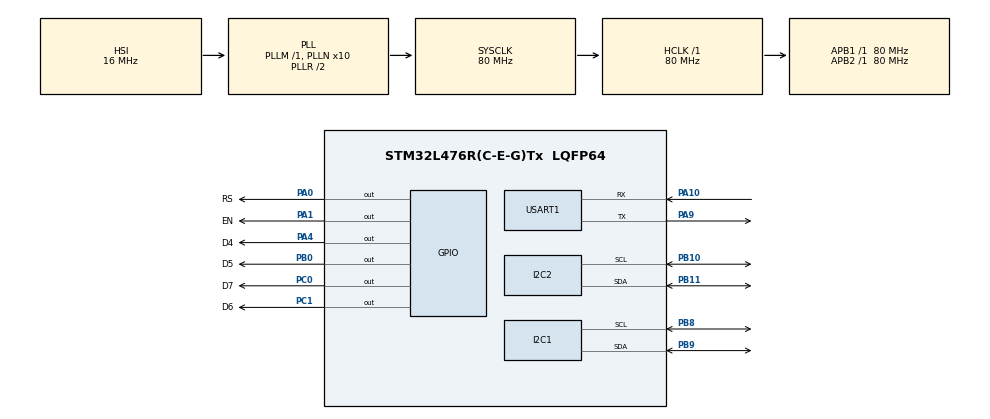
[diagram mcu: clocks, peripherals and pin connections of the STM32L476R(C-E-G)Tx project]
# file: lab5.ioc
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Dma.Request0=USART1_RX
Dma.Request1=USART1_TX
Dma.USART1_RX.0.Direction=DMA_PERIPH_TO_MEMORY
Dma.USART1_RX.0.Instance=DMA1_Channel5
Dma.USART1_RX.0.MemDataAlignment=DMA_MDATAALIGN_BYTE
Dma.USART1_RX.0.MemInc=DMA_MINC_ENABLE
Dma.USART1_RX.0.Mode=DMA_CIRCULAR
Dma.USART1_RX.0.PeriphDataAlignment=DMA_PDATAALIGN_BYTE
Dma.USART1_RX.0.PeriphInc=DMA_PINC_DISABLE
Dma.USART1_RX.0.Priority=DMA_PRIORITY_LOW
Dma.USART1_TX.1.Direction=DMA_MEMORY_TO_PERIPH
Dma.USART1_TX.1.Instance=DMA1_Channel4
Dma.USART1_TX.1.MemDataAlignment=DMA_MDATAALIGN_BYTE
Dma.USART1_TX.1.MemInc=DMA_MINC_ENABLE
Dma.USART1_TX.1.Mode=DMA_CIRCULAR
Dma.USART1_TX.1.PeriphDataAlignment=DMA_PDATAALIGN_BYTE
Dma.USART1_TX.1.PeriphInc=DMA_PINC_DISABLE
Dma.USART1_TX.1.Priority=DMA_PRIORITY_LOW
I2C1.Timing=0x10D19CE4
I2C2.Timing=0x10D19CE4
Mcu.Family=STM32L4
Mcu.Name=STM32L476R(C-E-G)Tx
Mcu.Package=LQFP64
NVIC.DMA1_Channel4_IRQn=true\:0\:0\:false\:false\:true\:false\:true\:true
NVIC.DMA1_Channel5_IRQn=true\:0\:0\:false\:false\:true\:false\:true\:true
NVIC.I2C1_ER_IRQn=true\:0\:0\:false\:false\:true\:true\:true\:true
NVIC.I2C1_EV_IRQn=true\:0\:0\:false\:false\:true\:true\:true\:true
NVIC.PriorityGroup=NVIC_PRIORITYGROUP_4
PA0.GPIO_Label=RS
PA0.Signal=GPIO_Output
PA1.GPIO_Label=EN
PA1.Signal=GPIO_Output
PA10.Mode=Asynchronous
PA10.Signal=USART1_RX
PA3.GPIO_Label=USART_RX
PA3.GPIO_Mode=GPIO_MODE_AF_PP
PA3.GPIO_PuPd=GPIO_NOPULL
PA3.GPIO_Speed=GPIO_SPEED_FREQ_VERY_HIGH
PA3.Signal=USART2_RX
PA4.GPIO_Label=D4
PA4.Signal=GPIO_Output
PA9.Mode=Asynchronous
PA9.Signal=USART1_TX
PB0.GPIO_Label=D5
PB0.Signal=GPIO_Output
PB10.Mode=I2C
PB10.Signal=I2C2_SCL
PB11.Mode=I2C
PB11.Signal=I2C2_SDA
PB8.Mode=I2C
PB8.Signal=I2C1_SCL
PB9.Mode=I2C
PB9.Signal=I2C1_SDA
PC0.GPIO_Label=D7
PC0.Signal=GPIO_Output
PC1.GPIO_Label=D6
PC1.Signal=GPIO_Output
ProjectManager.HeapSize=0x200
ProjectManager.StackSize=0x400
ProjectManager.TargetToolchain=STM32CubeIDE
RCC.ADCFreq_Value=64000000
RCC.AHBFreq_Value=80000000
RCC.APB1Freq_Value=80000000
RCC.APB1TimFreq_Value=80000000
RCC.APB2Freq_Value=80000000
RCC.APB2TimFreq_Value=80000000
RCC.CortexFreq_Value=80000000
RCC.HCLKFreq_Value=80000000
RCC.HSE_VALUE=8000000
RCC.HSI_VALUE=16000000
RCC.LSE_VALUE=32768
RCC.MSI_VALUE=4000000
RCC.PLLN=10
RCC.PLLSourceVirtual=RCC_PLLSOURCE_HSI
RCC.PREFETCH_ENABLE=1
RCC.SYSCLKFreq_VALUE=80000000
RCC.SYSCLKSource=RCC_SYSCLKSOURCE_PLLCLK
RCC.USBFreq_Value=64000000
RCC.VCOOutputFreq_Value=160000000
USART1.VirtualMode-Asynchronous=VM_ASYNC
board=NUCLEO-L476RG

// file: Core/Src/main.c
/* USER CODE BEGIN Header */
/**
  ******************************************************************************
  * @file           : main.c
  * @brief          : Main program body
  ******************************************************************************
  * @attention
  *
  * Copyright (c) 2025 STMicroelectronics.
  * All rights reserved.
  *
  * This software is licensed under terms that can be found in the LICENSE file
  * in the root directory of this software component.
  * If no LICENSE file comes with this software, it is provided AS-IS.
  *
  ******************************************************************************
  */
/* USER CODE END Header */
#include "main.h"

I2C_HandleTypeDef hi2c1;
I2C_HandleTypeDef hi2c2;

UART_HandleTypeDef huart1;
DMA_HandleTypeDef hdma_usart1_rx;
DMA_HandleTypeDef hdma_usart1_tx;

void SystemClock_Config(void);
static void MX_GPIO_Init(void);
static void MX_DMA_Init(void);
static void MX_USART1_UART_Init(void);
static void MX_I2C1_Init(void);
static void MX_I2C2_Init(void);

/* USER CODE BEGIN 0 */
#define MPU6050_ADDR 0xD0
#define SMPLRT_DIV_REG 0x19
#define GYRO_CONFIG_REG 0x1B
#define ACCEL_CONFIG_REG 0x1C
#define ACCEL_XOUT_H_REG 0x3B
#define TEMP_OUT_H_REG 0x41
#define GYRO_XOUT_H_REG 0x43
#define PWR_MGMT_1_REG 0x6B
#define WHO_AM_I_REG 0x75
int16_t Accel_X_RAW = 0;
int16_t Accel_Y_RAW = 0;
int16_t Accel_Z_RAW = 0;
int16_t Gyro_X_RAW = 0;
int16_t Gyro_Y_RAW = 0;
int16_t Gyro_Z_RAW = 0;

float Ax, Ay, Az, Gx, Gy, Gz;

void MPU6050_Init (void){
	uint8_t check;
	uint8_t Data;
	HAL_I2C_Mem_Read (&hi2c1, MPU6050_ADDR, 0x75, 1, &check, 1, 1000);
	if (check == 0x68){
		Data = 0;
		HAL_I2C_Mem_Write(&hi2c1, MPU6050_ADDR, 0x6B, 1,&Data, 1, 1000);

		Data = 0x07;
		HAL_I2C_Mem_Write(&hi2c1, MPU6050_ADDR, 0x19, 1, &Data, 1, 1000);

		Data = 0x00;
		HAL_I2C_Mem_Write(&hi2c1, MPU6050_ADDR, 0x1B, 1, &Data, 1, 1000);

		Data = 0x00;
		HAL_I2C_Mem_Write(&hi2c1, MPU6050_ADDR, 0x1C, 1, &Data, 1, 1000);
	}
}

void MPU6050_Read_Accel (void){
	uint8_t Rec_Data[6];

	HAL_I2C_Mem_Read (&hi2c1, MPU6050_ADDR, 0x3B, 1, Rec_Data, 6, 1000);

	Accel_X_RAW = (int16_t)(Rec_Data[0] << 8 | Rec_Data [1]);
	Accel_Y_RAW = (int16_t)(Rec_Data[2] << 8 | Rec_Data [3]);
	Accel_Z_RAW = (int16_t)(Rec_Data[4] << 8 | Rec_Data [5]);

	Ax = (float)Accel_X_RAW/16384.0;
	Ay = (float)Accel_Y_RAW/16384.0;
	Az = (float)Accel_Z_RAW/16384.0;
}

void MPU6050_Read_Gyro (void){
	uint8_t Rec_Data[6];

	HAL_I2C_Mem_Read (&hi2c1, MPU6050_ADDR, 0x43, 1, Rec_Data, 6, 1000);

	Gyro_X_RAW = (int16_t)(Rec_Data[0] << 8 | Rec_Data [1]);
	Gyro_Y_RAW = (int16_t)(Rec_Data[2] << 8 | Rec_Data [3]);
	Gyro_Z_RAW = (int16_t)(Rec_Data[4] << 8 | Rec_Data [5]);

	Gx = (float)Gyro_X_RAW/131.0;
	Gy = (float)Gyro_Y_RAW/131.0;
	Gz = (float)Gyro_Z_RAW/131.0;
}

/* USER CODE END 0 */

int main(void)
{

  /* USER CODE BEGIN 1 */
	char buf[10];
	int oldax,olday;
	int xpos=64;
	int ypos=16;

  /* USER CODE END 1 */

  /* MCU Configuration--------------------------------------------------------*/

  /* Reset of all peripherals, Initializes the Flash interface and the Systick. */
  HAL_Init();

  /* Configure the system clock */
  SystemClock_Config();

  /* Initialize all configured peripherals */
  MX_GPIO_Init();
  MX_DMA_Init();
  MX_USART1_UART_Init();
  MX_I2C1_Init();
  MX_I2C2_Init();
  /* USER CODE BEGIN 2 */
  MPU6050_Init();
  lcd_init();

  /* USER CODE END 2 */

  /* Infinite loop */
  while (1)
  {

    /* USER CODE BEGIN 3 */
	  oldax = Ax;
	  olday=Ay;
	  MPU6050_Read_Accel();
	  MPU6050_Read_Gyro();
	  setCursor(0, 0);
	  sprintf (buf, "Ax=%.2fg ", Ax);
	  lcd_send_string (buf);
	  sprintf (buf, "Ay=%.2fg ", Ay);
	  lcd_send_string (buf);
	  setCursor(0, 1);
	  sprintf (buf, "Gx=%.2f", Gx);
	  lcd_send_string (buf);
	  sprintf (buf, "Gy=%.2f", Gy);
	  lcd_send_string (buf);
	  lcd_clear();
	  HAL_Delay(200);
  }
  /* USER CODE END 3 */
}

void SystemClock_Config(void)
{
  RCC_OscInitTypeDef RCC_OscInitStruct = {0};
  RCC_ClkInitTypeDef RCC_ClkInitStruct = {0};

  /** Configure the main internal regulator output voltage
  */
  if (HAL_PWREx_ControlVoltageScaling(PWR_REGULATOR_VOLTAGE_SCALE1) != HAL_OK)
  {
    Error_Handler();
  }

  /** Initializes the RCC Oscillators according to the specified parameters
  * in the RCC_OscInitTypeDef structure.
  */
  RCC_OscInitStruct.OscillatorType = RCC_OSCILLATORTYPE_HSI;
  RCC_OscInitStruct.HSIState = RCC_HSI_ON;
  RCC_OscInitStruct.HSICalibrationValue = RCC_HSICALIBRATION_DEFAULT;
  RCC_OscInitStruct.PLL.PLLState = RCC_PLL_ON;
  RCC_OscInitStruct.PLL.PLLSource = RCC_PLLSOURCE_HSI;
  RCC_OscInitStruct.PLL.PLLM = 1;
  RCC_OscInitStruct.PLL.PLLN = 10;
  RCC_OscInitStruct.PLL.PLLP = RCC_PLLP_DIV7;
  RCC_OscInitStruct.PLL.PLLQ = RCC_PLLQ_DIV2;
  RCC_OscInitStruct.PLL.PLLR = RCC_PLLR_DIV2;
  if (HAL_RCC_OscConfig(&RCC_OscInitStruct) != HAL_OK)
  {
    Error_Handler();
  }

  /** Initializes the CPU, AHB and APB buses clocks
  */
  RCC_ClkInitStruct.ClockType = RCC_CLOCKTYPE_HCLK|RCC_CLOCKTYPE_SYSCLK
                              |RCC_CLOCKTYPE_PCLK1|RCC_CLOCKTYPE_PCLK2;
  RCC_ClkInitStruct.SYSCLKSource = RCC_SYSCLKSOURCE_PLLCLK;
  RCC_ClkInitStruct.AHBCLKDivider = RCC_SYSCLK_DIV1;
  RCC_ClkInitStruct.APB1CLKDivider = RCC_HCLK_DIV1;
  RCC_ClkInitStruct.APB2CLKDivider = RCC_HCLK_DIV1;

  if (HAL_RCC_ClockConfig(&RCC_ClkInitStruct, FLASH_LATENCY_4) != HAL_OK)
  {
    Error_Handler();
  }
}

static void MX_I2C1_Init(void)
{

  hi2c1.Instance = I2C1;
  hi2c1.Init.Timing = 0x10D19CE4;
  hi2c1.Init.OwnAddress1 = 0;
  hi2c1.Init.AddressingMode = I2C_ADDRESSINGMODE_7BIT;
  hi2c1.Init.DualAddressMode = I2C_DUALADDRESS_DISABLE;
  hi2c1.Init.OwnAddress2 = 0;
  hi2c1.Init.OwnAddress2Masks = I2C_OA2_NOMASK;
  hi2c1.Init.GeneralCallMode = I2C_GENERALCALL_DISABLE;
  hi2c1.Init.NoStretchMode = I2C_NOSTRETCH_DISABLE;
  if (HAL_I2C_Init(&hi2c1) != HAL_OK)
  {
    Error_Handler();
  }

  /** Configure Analogue filter
  */
  if (HAL_I2CEx_ConfigAnalogFilter(&hi2c1, I2C_ANALOGFILTER_ENABLE) != HAL_OK)
  {
    Error_Handler();
  }

  /** Configure Digital filter
  */
  if (HAL_I2CEx_ConfigDigitalFilter(&hi2c1, 0) != HAL_OK)
  {
    Error_Handler();
  }

}

static void MX_I2C2_Init(void)
{

  hi2c2.Instance = I2C2;
  hi2c2.Init.Timing = 0x10D19CE4;
  hi2c2.Init.OwnAddress1 = 0;
  hi2c2.Init.AddressingMode = I2C_ADDRESSINGMODE_7BIT;
  hi2c2.Init.DualAddressMode = I2C_DUALADDRESS_DISABLE;
  hi2c2.Init.OwnAddress2 = 0;
  hi2c2.Init.OwnAddress2Masks = I2C_OA2_NOMASK;
  hi2c2.Init.GeneralCallMode = I2C_GENERALCALL_DISABLE;
  hi2c2.Init.NoStretchMode = I2C_NOSTRETCH_DISABLE;
  if (HAL_I2C_Init(&hi2c2) != HAL_OK)
  {
    Error_Handler();
  }

  /** Configure Analogue filter
  */
  if (HAL_I2CEx_ConfigAnalogFilter(&hi2c2, I2C_ANALOGFILTER_ENABLE) != HAL_OK)
  {
    Error_Handler();
  }

  /** Configure Digital filter
  */
  if (HAL_I2CEx_ConfigDigitalFilter(&hi2c2, 0) != HAL_OK)
  {
    Error_Handler();
  }

}

static void MX_USART1_UART_Init(void)
{

  huart1.Instance = USART1;
  huart1.Init.BaudRate = 115200;
  huart1.Init.WordLength = UART_WORDLENGTH_8B;
  huart1.Init.StopBits = UART_STOPBITS_1;
  huart1.Init.Parity = UART_PARITY_NONE;
  huart1.Init.Mode = UART_MODE_TX_RX;
  huart1.Init.HwFlowCtl = UART_HWCONTROL_NONE;
  huart1.Init.OverSampling = UART_OVERSAMPLING_16;
  huart1.Init.OneBitSampling = UART_ONE_BIT_SAMPLE_DISABLE;
  huart1.AdvancedInit.AdvFeatureInit = UART_ADVFEATURE_NO_INIT;
  if (HAL_UART_Init(&huart1) != HAL_OK)
  {
    Error_Handler();
  }

}

static void MX_DMA_Init(void)
{

  /* DMA controller clock enable */
  __HAL_RCC_DMA1_CLK_ENABLE();

  /* DMA interrupt init */
  /* DMA1_Channel4_IRQn interrupt configuration */
  HAL_NVIC_SetPriority(DMA1_Channel4_IRQn, 0, 0);
  HAL_NVIC_EnableIRQ(DMA1_Channel4_IRQn);
  /* DMA1_Channel5_IRQn interrupt configuration */
  HAL_NVIC_SetPriority(DMA1_Channel5_IRQn, 0, 0);
  HAL_NVIC_EnableIRQ(DMA1_Channel5_IRQn);

}

static void MX_GPIO_Init(void)
{
  GPIO_InitTypeDef GPIO_InitStruct = {0};

  /* GPIO Ports Clock Enable */
  __HAL_RCC_GPIOC_CLK_ENABLE();
  __HAL_RCC_GPIOA_CLK_ENABLE();
  __HAL_RCC_GPIOB_CLK_ENABLE();

  /*Configure GPIO pin Output Level */
  HAL_GPIO_WritePin(GPIOC, D7_Pin|D6_Pin, GPIO_PIN_RESET);

  /*Configure GPIO pin Output Level */
  HAL_GPIO_WritePin(GPIOA, RS_Pin|EN_Pin|D4_Pin, GPIO_PIN_RESET);

  /*Configure GPIO pin Output Level */
  HAL_GPIO_WritePin(D5_GPIO_Port, D5_Pin, GPIO_PIN_RESET);

  /*Configure GPIO pins : D7_Pin D6_Pin */
  GPIO_InitStruct.Pin = D7_Pin|D6_Pin;
  GPIO_InitStruct.Mode = GPIO_MODE_OUTPUT_PP;
  GPIO_InitStruct.Pull = GPIO_NOPULL;
  GPIO_InitStruct.Speed = GPIO_SPEED_FREQ_LOW;
  HAL_GPIO_Init(GPIOC, &GPIO_InitStruct);

  /*Configure GPIO pins : RS_Pin EN_Pin D4_Pin */
  GPIO_InitStruct.Pin = RS_Pin|EN_Pin|D4_Pin;
  GPIO_InitStruct.Mode = GPIO_MODE_OUTPUT_PP;
  GPIO_InitStruct.Pull = GPIO_NOPULL;
  GPIO_InitStruct.Speed = GPIO_SPEED_FREQ_LOW;
  HAL_GPIO_Init(GPIOA, &GPIO_InitStruct);

  /*Configure GPIO pin : USART_RX_Pin */
  GPIO_InitStruct.Pin = USART_RX_Pin;
  GPIO_InitStruct.Mode = GPIO_MODE_AF_PP;
  GPIO_InitStruct.Pull = GPIO_NOPULL;
  GPIO_InitStruct.Speed = GPIO_SPEED_FREQ_VERY_HIGH;
  GPIO_InitStruct.Alternate = GPIO_AF7_USART2;
  HAL_GPIO_Init(USART_RX_GPIO_Port, &GPIO_InitStruct);

  /*Configure GPIO pin : D5_Pin */
  GPIO_InitStruct.Pin = D5_Pin;
  GPIO_InitStruct.Mode = GPIO_MODE_OUTPUT_PP;
  GPIO_InitStruct.Pull = GPIO_NOPULL;
  GPIO_InitStruct.Speed = GPIO_SPEED_FREQ_LOW;
  HAL_GPIO_Init(D5_GPIO_Port, &GPIO_InitStruct);

}

void Error_Handler(void)
{
  __disable_irq();
  while (1)
  {
  }
}
